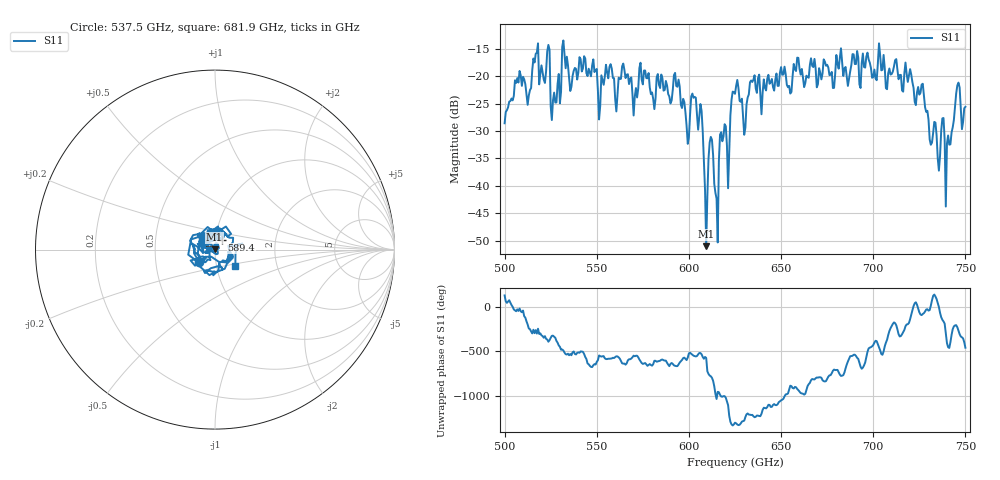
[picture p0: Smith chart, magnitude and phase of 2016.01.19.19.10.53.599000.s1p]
!Created with skrf (http://scikit-rf.org).
# GHz S RI R 50.0
!freq ReS11 ImS11
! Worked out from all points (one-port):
!   401 points, 500 GHz to 750 GHz, reference 50 ohm
!   lowest |S11| = -51.0 dB at 609.4 GHz (marker M1), VSWR 1.01, Z = 49.8 + j0.155 ohm
!   |S11| at or under -10 dB: start of sweep to end of sweep
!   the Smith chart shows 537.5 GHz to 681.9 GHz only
!   S11 on the Smith chart (normalised r, x): 537.5 GHz: 0.83, -0.12; 589.4 GHz: 1.07, +0.11; 681.9 GHz: 1.23, -0.23
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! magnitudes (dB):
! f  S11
! 500 GHz  -28.6
! 516.9 GHz  -15.9
! 523.1 GHz  -15.5
! 526.2 GHz  -24.4
! 531.2 GHz  -14.7
! 537.5 GHz  -19.0
! 562.5 GHz  -20.5
! 589.4 GHz  -23.7
! 593.8 GHz  -21.9
! 599.4 GHz  -32.3
! 602.5 GHz  -24.0
! 606.2 GHz  -25.1
! 609.4 GHz  -51.0
! 611.9 GHz  -31.1
! 615 GHz  -42.3
! 618.1 GHz  -31.9
! 621.2 GHz  -40.4
! 625 GHz  -23.2
! 630 GHz  -30.7
! 634.4 GHz  -21.1
! 656.2 GHz  -20.0
! 681.9 GHz  -16.7
! 687.5 GHz  -19.1
! 718.8 GHz  -21.1
! 735.6 GHz  -37.2
! 740.6 GHz  -30.8
! 745.6 GHz  -21.7
! 750 GHz  -25.6
